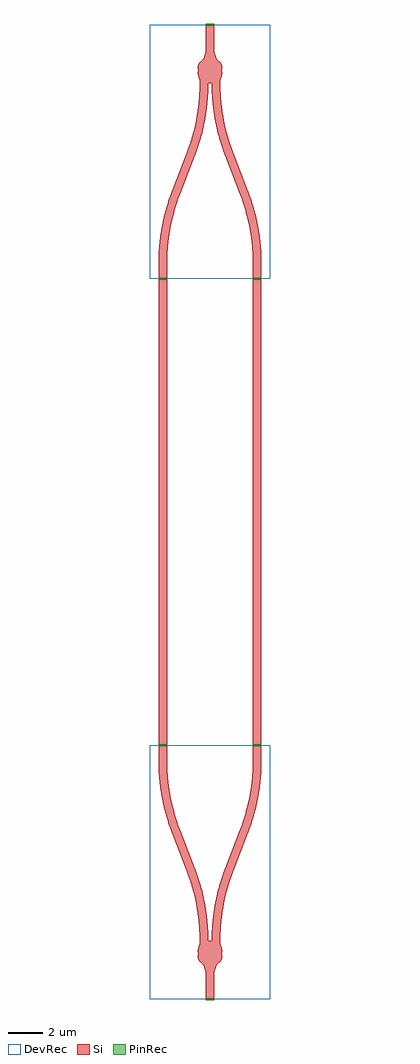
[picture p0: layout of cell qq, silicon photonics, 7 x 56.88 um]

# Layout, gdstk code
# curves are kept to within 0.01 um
from math import pi, radians
import gdstk
lib = gdstk.Library(unit=1e-6, precision=1e-09)
def R(c, l, rs):  # rectangles x0, y0, x1, y1
    for r in rs: c.add(gdstk.rectangle(r[:2], r[2:], *l))
def P(c, l, *ps):  # polygons
    for p in ps: c.add(gdstk.Polygon(p, *l))
Si = (1, 0)
PinRec = (1, 10)
DevRec = (68, 0)

ebeam_y_1550 = lib.new_cell('ebeam_y_1550')
R(ebeam_y_1550, Si, [(6.5,-3,7.4,-2.5), (-7.4,-0.25,-6,0.25), (6.5,2.5,7.4,3)])
P(ebeam_y_1550, Si, [(6.458,-3),(6.237,-2.997),(6.237,-2.497),(6.5,-2.5),(6.5,-3)],
  [(5.033,-2.908),(4.288,-2.79),(3.59,-2.634),(2.922,-2.442),(2.265,-2.21),(2.445,-1.744),(3.075,-1.966),(3.731,-2.154),(4.372,-2.297),(5.033,-2.404)],
  [(6.233,-2.997),(5.619,-2.967),(5.033,-2.908),(5.033,-2.404),(5.625,-2.466),(6.237,-2.497)],
  [(2.265,-2.21),(0.055,-1.356),(0.235,-0.89),(2.445,-1.744)],
  [(-0.762,-1.076),(-1.532,-0.874),(-2.334,-0.724),(-3.178,-0.63),(-4,-0.6),(-4,-0.1),(-3.16,-0.13),(-2.381,-0.212),(-1.565,-0.355),(-0.762,-0.555)],
  [(0.055,-1.356),(-0.762,-1.076),(-0.762,-0.555),(-0.263,-0.71),(0.235,-0.89)],
  [(6.237,2.497),(6.237,2.997),(6.5,3),(6.5,2.5)],
  [(2.445,1.744),(2.267,2.211),(2.922,2.442),(3.59,2.634),(4.288,2.79),(5.033,2.908),(5.033,2.404),(4.372,2.297),(3.731,2.154),(3.075,1.966)],
  [(5.033,2.404),(5.033,2.908),(5.619,2.967),(6.237,2.997),(6.237,2.497),(5.625,2.466)],
  [(0.235,0.89),(0.055,1.356),(2.265,2.21),(2.445,1.744)],
  [(-4,0.1),(-4,0.6),(-3.178,0.63),(-2.334,0.724),(-1.532,0.874),(-0.762,1.076),(-0.762,0.555),(-1.565,0.355),(-2.381,0.212),(-3.16,0.13)],
  [(-0.762,0.555),(-0.762,1.076),(0.055,1.356),(0.235,0.89),(-0.263,0.71)],
  [(-5.122,-0.662),(-5.344,-0.44),(-5.442,-0.374),(-5.808,-0.255),(-6,-0.25),(-6,0.25),(-5.817,0.253),(-5.442,0.374),(-5.344,0.44),(-5.122,0.662)],
  [(-4.957,-0.703),(-5.047,-0.692),(-5.122,-0.662),(-5.122,0.662),(-4.978,0.702),(-4.538,0.703),(-4.424,0.685),(-4.167,0.6),(-4,0.6),(-4,-0.6),(-4.167,-0.6),(-4.509,-0.701)])
R(ebeam_y_1550, DevRec, [(-7.4,-3.5,7.4,3.5)])
ebeam_y_1550.add(gdstk.FlexPath([(-7.35,0),(-7.45,0)], 0.5, ends="flush", simple_path=True, layer=1, datatype=10))  # PinRec
ebeam_y_1550.add(gdstk.FlexPath([(7.35,2.75),(7.45,2.75)], 0.5, ends="flush", simple_path=True, layer=1, datatype=10))  # PinRec
ebeam_y_1550.add(gdstk.FlexPath([(7.35,-2.75),(7.45,-2.75)], 0.5, ends="flush", simple_path=True, layer=1, datatype=10))  # PinRec
ebeam_y_1550.add(gdstk.Label('Ref: Y Zhang, Opt. Express, 21/1, 2013', (-7.5,-1), layer=10, texttype=0))
ebeam_y_1550.add(gdstk.Label('opt2', (7.4,2.75), layer=1, texttype=10))
ebeam_y_1550.add(gdstk.Label('opt3', (7.4,-2.75), layer=1, texttype=10))
ebeam_y_1550.add(gdstk.Label('opt1', (-7.4,0), layer=1, texttype=10))
ebeam_y_1550.add(gdstk.Label('Component=ebeam_y_1550', (-6,1.5), layer=68, texttype=0))
ebeam_y_1550.add(gdstk.Label('Lumerical_INTERCONNECT_library=Design kits/ebeam', (-6.86,-2.19), layer=68, texttype=0))

c_qq = lib.new_cell('qq')
c_qq.add(gdstk.FlexPath([(0.75,14.9),(0.75,42.08)], 0.5, ends="flush", simple_path=True, layer=1, datatype=0))  # Si
c_qq.add(gdstk.FlexPath([(6.25,14.9),(6.25,42.08)], 0.5, ends="flush", simple_path=True, layer=1, datatype=0))  # Si
c_qq.add(gdstk.Reference(ebeam_y_1550, (3.5,49.48), rotation=3*pi/2))
c_qq.add(gdstk.Reference(ebeam_y_1550, (3.5,7.5), rotation=pi/2))

lib.write_gds('qq.gds')
